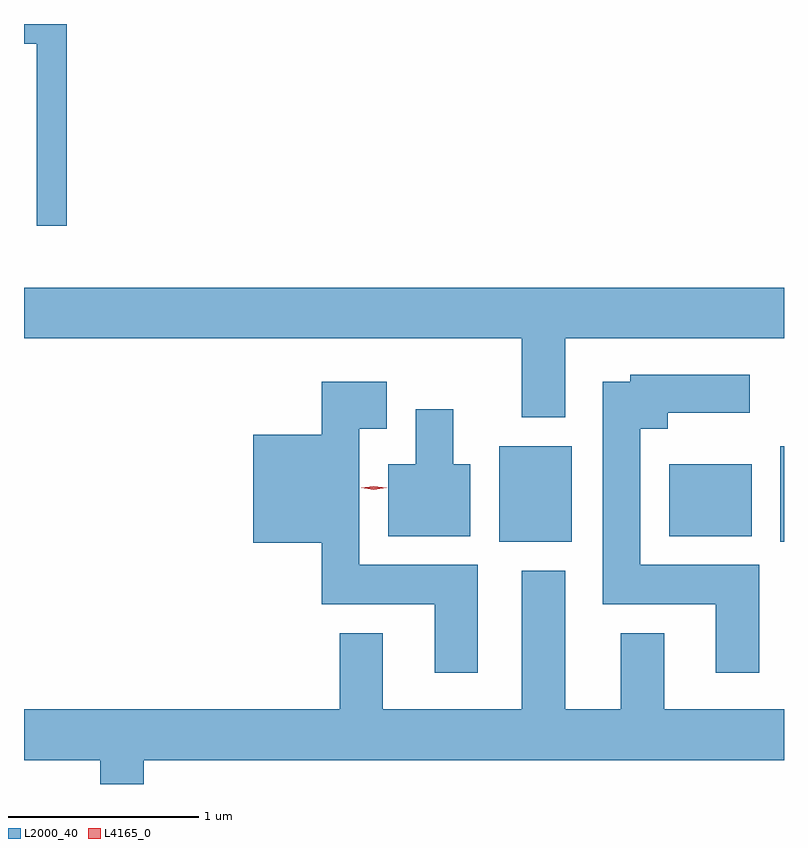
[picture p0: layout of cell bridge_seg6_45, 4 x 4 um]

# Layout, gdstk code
import gdstk
lib = gdstk.Library(unit=1e-6, precision=1e-09)
def R(c, l, rs):  # rectangles x0, y0, x1, y1
    for r in rs: c.add(gdstk.rectangle(r[:2], r[2:], *l))
def P(c, l, *ps):  # polygons
    for p in ps: c.add(gdstk.Polygon(p, *l))
L2000_40 = (2000, 40)
L4165_0 = (4165, 0)

bridge_seg6_45 = lib.new_cell('bridge_seg6_45')
R(bridge_seg6_45, L2000_40, [(1488.291,1644.426,1488.674,1644.929), (1489.771,1644.426,1489.79,1644.929), (1489.186,1644.456,1489.619,1644.834)])
P(bridge_seg6_45, L2000_40, [(1486.014,1647.151),(1485.79,1647.151),(1485.79,1647.046),(1485.856,1647.046),(1485.856,1646.088),(1486.014,1646.088)],
  [(1488.639,1645.496),(1489.79,1645.496),(1489.79,1645.764),(1485.79,1645.764),(1485.79,1645.496),(1488.411,1645.496),(1488.411,1645.081),(1488.639,1645.081)],
  [(1489.659,1644.304),(1489.034,1644.304),(1489.034,1645.021),(1489.179,1645.021),(1489.179,1645.106),(1489.609,1645.106),(1489.609,1645.304),(1488.981,1645.304),(1488.981,1645.269),(1488.836,1645.269),(1488.836,1644.096),(1489.431,1644.096),(1489.431,1643.736),(1489.659,1643.736)],
  [(1488.179,1644.304),(1487.554,1644.304),(1487.554,1645.021),(1487.699,1645.021),(1487.699,1645.269),(1487.356,1645.269),(1487.356,1644.989),(1486.996,1644.989),(1486.996,1644.421),(1487.356,1644.421),(1487.356,1644.096),(1487.951,1644.096),(1487.951,1643.736),(1488.179,1643.736)],
  [(1488.139,1644.834),(1488.049,1644.834),(1488.049,1645.124),(1487.851,1645.124),(1487.851,1644.834),(1487.706,1644.834),(1487.706,1644.456),(1488.139,1644.456)],
  [(1486.419,1643.276),(1489.79,1643.276),(1489.79,1643.544),(1489.159,1643.544),(1489.159,1643.944),(1488.931,1643.944),(1488.931,1643.544),(1488.639,1643.544),(1488.639,1644.274),(1488.411,1644.274),(1488.411,1643.544),(1487.679,1643.544),(1487.679,1643.944),(1487.451,1643.944),(1487.451,1643.544),(1485.79,1643.544),(1485.79,1643.276),(1486.191,1643.276),(1486.191,1643.151),(1486.419,1643.151)])
P(bridge_seg6_45, L4165_0, [(1487.632,1644.699),(1487.566,1644.709),(1487.566,1644.709),(1487.566,1644.71),(1487.632,1644.719),(1487.697,1644.71),(1487.698,1644.709),(1487.697,1644.709)])

lib.write_gds('bridge_seg6_45.gds')
